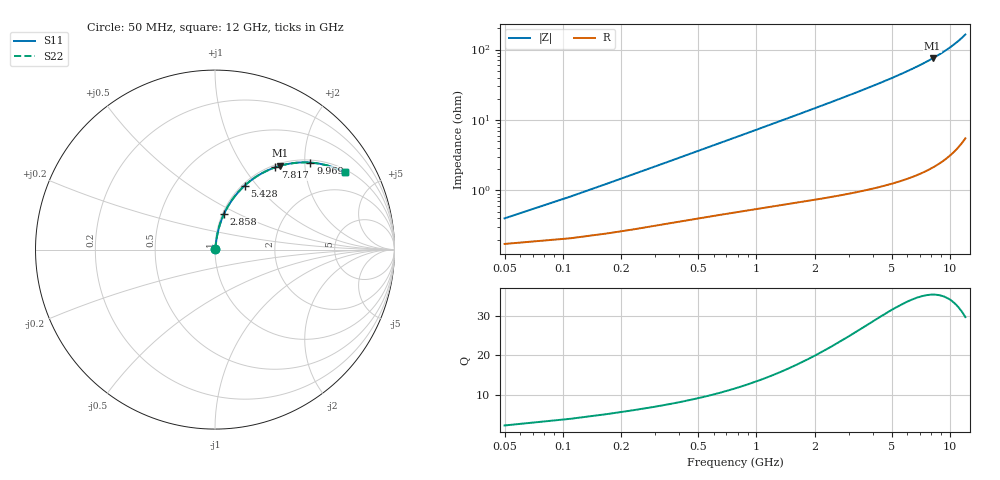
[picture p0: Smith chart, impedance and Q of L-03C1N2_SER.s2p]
! L-03C1N2
! Data taken by Rita
! Created Thu Jun 15 16:26:57 2006
# hz S ma R 50
! 2 Port Network Data from SP1.SP block
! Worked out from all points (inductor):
!   201 points, 50 MHz to 12 GHz, reference 50 ohm
!   read as one part in series: L = 1.15 nH near 109.8 MHz
!   highest Q = 35.6 at 8.116 GHz (marker M1), where L = 1.46 nH
!   S11 on the Smith chart (normalised r, x): 50 MHz: 1.00, +0.01; 2.858 GHz: 1.02, +0.42; 5.428 GHz: 1.03, +0.87; 7.817 GHz: 1.04, +1.41; 9.969 GHz: 1.06, +2.13; 12 GHz: 1.11, +3.27
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5e7  0.004002 64.1  0.9983 -0.2  0.9983 -0.2  0.004002 64.1
1.0975e8  0.008184 74.8  0.9979 -0.5  0.9979 -0.5  0.008184 74.8
1.695e8  0.01246 78.0  0.9975 -0.7  0.9975 -0.7  0.01246 78.0
2.2925e8  0.01675 79.5  0.9971 -0.9  0.9971 -0.9  0.01675 79.5
2.89e8  0.02105 80.4  0.9967 -1.2  0.9967 -1.2  0.02105 80.4
3.4875e8  0.02534 80.9  0.9963 -1.4  0.9963 -1.4  0.02534 80.9
5.28e8  0.03822 81.7  0.9952 -2.2  0.9952 -2.2  0.03822 81.7
7.67e8  0.05538 81.9  0.9937 -3.2  0.9937 -3.2  0.05538 81.9
1.1255e9  0.08113 81.4  0.9911 -4.6  0.9911 -4.6  0.08113 81.4
1.5438e9  0.1112 80.3  0.9874 -6.4  0.9874 -6.4  0.1112 80.3
2.0815e9  0.1499 78.6  0.9814 -8.6  0.9814 -8.6  0.1499 78.6
2.8583e9  0.206 75.8  0.9701 -11.9  0.9701 -11.9  0.206 75.8
4.0533e9  0.2929 71.0  0.9461 -17.0  0.9461 -17.0  0.2929 71.0
5.4275e9  0.3938 65.1  0.9072 -23.2  0.9072 -23.2  0.3938 65.1
6.025e9  0.4378 62.4  0.8862 -26.0  0.8862 -26.0  0.4378 62.4
7.8175e9  0.5692 53.7  0.8064 -34.7  0.8064 -34.7  0.5692 53.7
8.0565e9  0.5864 52.5  0.7937 -35.9  0.7937 -35.9  0.5864 52.5
8.1163e9  0.5907 52.2  0.7904 -36.2  0.7904 -36.2  0.5907 52.2
9.9685e9  0.7191 42.4  0.6743 -46.0  0.6743 -46.0  0.7191 42.4
1.0028e10  0.723 42.0  0.67 -46.3  0.67 -46.3  0.723 42.0
1.1044e10  0.7869 36.4  0.5933 -51.9  0.5933 -51.9  0.7869 36.4
1.2e10  0.8409 30.9  0.5138 -57.2  0.5138 -57.2  0.8409 30.9
